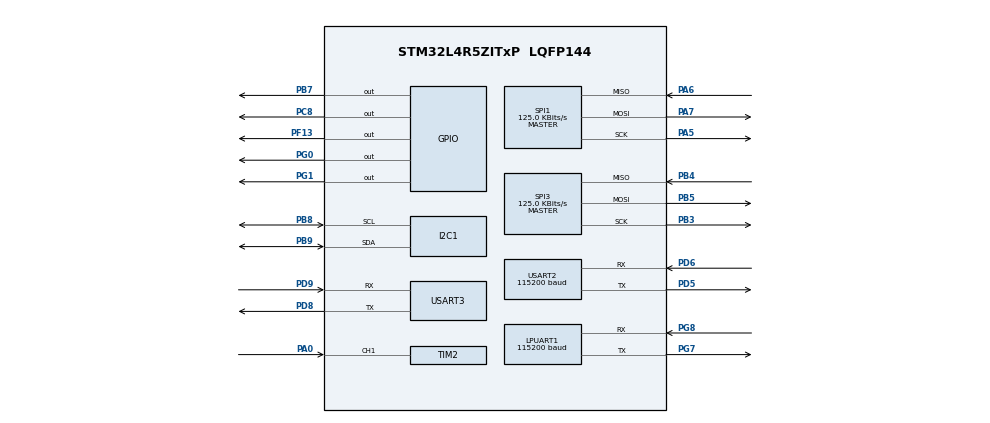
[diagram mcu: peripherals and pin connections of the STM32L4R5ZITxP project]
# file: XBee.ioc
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LPUART1.BaudRate=115200
LPUART1.Mode=UART_MODE_TX_RX
LPUART1.WordLength=UART_WORDLENGTH_8B
Mcu.Family=STM32L4
Mcu.Name=STM32L4R5ZITxP
Mcu.Package=LQFP144
NVIC.PriorityGroup=NVIC_PRIORITYGROUP_4
NVIC.USART2_IRQn=true\:0\:0\:false\:false\:true\:true\:true\:true
NVIC.USART3_IRQn=true\:0\:0\:false\:false\:true\:true\:true\:true
PA0.Signal=S_TIM2_CH1
PA1.Signal=ADCx_IN6
PA10.Signal=USB_OTG_FS_ID
PA13\ (JTMS/SWDIO).Signal=SYS_JTMS-SWDIO
PA14\ (JTCK/SWCLK).Signal=SYS_JTCK-SWCLK
PA3.Signal=ADCx_IN8
PA4.Signal=SPI1_NSS
PA5.Mode=Full_Duplex_Master
PA5.Signal=SPI1_SCK
PA6.Mode=Full_Duplex_Master
PA6.Signal=SPI1_MISO
PA7.Mode=Full_Duplex_Master
PA7.Signal=SPI1_MOSI
PA8.Signal=USB_OTG_FS_SOF
PA9.Signal=USB_OTG_FS_VBUS
PB0.Signal=S_TIM3_CH3
PB1.Signal=ADCx_IN16
PB10.Signal=S_TIM2_CH3
PB12.Signal=SAI2_FS_A
PB13.Signal=SAI2_SCK_A
PB14.Signal=S_TIM15_CH1
PB15.Signal=SAI2_SD_A
PB2.Signal=COMP1_INP
PB3\ (JTDO/TRACESWO).Mode=Full_Duplex_Master
PB3\ (JTDO/TRACESWO).Signal=SPI3_SCK
PB4\ (NJTRST).Mode=Full_Duplex_Master
PB4\ (NJTRST).Signal=SPI3_MISO
PB5.Mode=Full_Duplex_Master
PB5.Signal=SPI3_MOSI
PB6.Signal=COMP2_INP
PB7.Signal=GPIO_Output
PB8.Mode=I2C
PB8.Signal=I2C1_SCL
PB9.Mode=I2C
PB9.Signal=I2C1_SDA
PC0.Signal=ADCx_IN1
PC1.Signal=ADCx_IN2
PC10.Signal=SDMMC1_D2
PC11.Signal=SDMMC1_D3
PC12.Signal=SDMMC1_CK
PC13.Signal=SYS_WKUP2
PC14-OSC32_IN\ (PC14).Signal=RCC_OSC32_IN
PC15-OSC32_OUT\ (PC15).Signal=RCC_OSC32_OUT
PC2.Signal=ADCx_IN3
PC3.Signal=ADCx_IN4
PC4.Signal=ADCx_IN13
PC5.Signal=ADCx_IN14
PC6.Signal=SAI2_MCLK_A
PC7.Signal=S_TIM3_CH2
PC8.Signal=GPIO_Output
PC9.Signal=SDMMC1_D1
PD0.Signal=CAN1_RX
PD14.Signal=S_TIM4_CH3
PD15.Signal=S_TIM4_CH4
PD2.Signal=SDMMC1_CMD
PD3.Signal=USART2_CTS
PD4.Signal=USART2_RTS
PD5.Mode=Asynchronous
PD5.Signal=USART2_TX
PD6.Mode=Asynchronous
PD6.Signal=USART2_RX
PD8.Mode=Asynchronous
PD8.Signal=USART3_TX
PD9.Mode=Asynchronous
PD9.Signal=USART3_RX
PE0.Signal=S_TIM4_ETR
PE10.Signal=TIM1_CH2N
PE11.Signal=S_TIM1_CH2
PE12.Signal=TIM1_CH3N
PE13.Signal=S_TIM1_CH3
PE14.Signal=TIM1_BKIN2
PE15.Signal=TIM1_BKIN
PE2.Signal=SAI1_MCLK_A
PE3.Signal=SAI1_SD_B
PE7.Signal=S_TIM1_ETR
PE8.Signal=TIM1_CH1N
PE9.Signal=S_TIM1_CH1
PF0.Signal=I2C2_SDA
PF1.Signal=I2C2_SCL
PF13.Signal=GPIO_Output
PF2.Signal=I2C2_SMBA
PF7.Signal=SAI1_MCLK_B
PG0.Signal=GPIO_Output
PG1.Signal=GPIO_Output
PG7.Mode=Asynchronous
PG7.Signal=LPUART1_TX
PG8.Mode=Asynchronous
PG8.Signal=LPUART1_RX
PH0-OSC_IN\ (PH0).Signal=RCC_OSC_IN
PH1-OSC_OUT\ (PH1).Signal=RCC_OSC_OUT
ProjectManager.HeapSize=0x200
ProjectManager.StackSize=0x400
ProjectManager.TargetToolchain=STM32CubeIDE
RCC.HSE_VALUE=8000000
RCC.HSI48_VALUE=48000000
RCC.HSI_VALUE=16000000
RCC.LSE_VALUE=32768
RCC.MSI_VALUE=4000000
RCC.VCOOutputFreq_Value=32000000
SH.ADCx_IN1.0=ADC1_IN1
SH.ADCx_IN13.0=ADC1_IN13
SH.ADCx_IN14.0=ADC1_IN14
SH.ADCx_IN16.0=ADC1_IN16
SH.ADCx_IN2.0=ADC1_IN2
SH.ADCx_IN3.0=ADC1_IN3
SH.ADCx_IN4.0=ADC1_IN4
SH.ADCx_IN6.0=ADC1_IN6
SH.ADCx_IN8.0=ADC1_IN8
SH.S_TIM15_CH1.0=TIM15_CH1
SH.S_TIM1_CH1.0=TIM1_CH1
SH.S_TIM1_CH2.0=TIM1_CH2
SH.S_TIM1_CH3.0=TIM1_CH3
SH.S_TIM1_ETR.0=TIM1_ETR
SH.S_TIM2_CH1.0=TIM2_CH1,Input_Capture1_from_TI1
SH.S_TIM2_CH3.0=TIM2_CH3
SH.S_TIM3_CH2.0=TIM3_CH2
SH.S_TIM3_CH3.0=TIM3_CH3
SH.S_TIM4_CH3.0=TIM4_CH3
SH.S_TIM4_CH4.0=TIM4_CH4
SH.S_TIM4_ETR.0=TIM4_ETR
SPI1.BaudRatePrescaler=SPI_BAUDRATEPRESCALER_32
SPI1.CLKPhase=SPI_PHASE_2EDGE
SPI1.CLKPolarity=SPI_POLARITY_HIGH
SPI1.CalculateBaudRate=125.0 KBits/s
SPI1.DataSize=SPI_DATASIZE_8BIT
SPI1.Direction=SPI_DIRECTION_2LINES
SPI1.FirstBit=SPI_FIRSTBIT_LSB
SPI1.Mode=SPI_MODE_MASTER
SPI1.VirtualType=VM_MASTER
SPI3.BaudRatePrescaler=SPI_BAUDRATEPRESCALER_32
SPI3.CLKPhase=SPI_PHASE_2EDGE
SPI3.CLKPolarity=SPI_POLARITY_HIGH
SPI3.CalculateBaudRate=125.0 KBits/s
SPI3.DataSize=SPI_DATASIZE_8BIT
SPI3.Direction=SPI_DIRECTION_2LINES
SPI3.FirstBit=SPI_FIRSTBIT_LSB
SPI3.Mode=SPI_MODE_MASTER
SPI3.VirtualType=VM_MASTER
TIM2.Channel-Input_Capture1_from_TI1=TIM_CHANNEL_1
TIM2.Prescaler=3999
USART2.BaudRate=115200
USART2.VirtualMode-Asynchronous=VM_ASYNC
USART3.VirtualMode-Asynchronous=VM_ASYNC
VP_TIM2_VS_ClockSourceINT.Mode=Internal
board=NUCLEO-L4R5ZI-P

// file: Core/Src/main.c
/* USER CODE BEGIN Header */
/**
  ******************************************************************************
  * @file           : main.c
  * @brief          : Main program body
  ******************************************************************************
  * @attention
  *
  * Copyright (c) 2024 STMicroelectronics.
  * All rights reserved.
  *
  * This software is licensed under terms that can be found in the LICENSE file
  * in the root directory of this software component.
  * If no LICENSE file comes with this software, it is provided AS-IS.
  *
  ******************************************************************************
  */
/* USER CODE END Header */
#include "main.h"

/* USER CODE BEGIN Includes */
#include "stdio.h"
/* USER CODE END Includes */

I2C_HandleTypeDef hi2c1;

UART_HandleTypeDef hlpuart1;
UART_HandleTypeDef huart2;
UART_HandleTypeDef huart3;

SPI_HandleTypeDef hspi1;
SPI_HandleTypeDef hspi3;

TIM_HandleTypeDef htim2;

/* USER CODE BEGIN PV */
uint8_t rx_data1[2];	// Receive data upon interrupt from Xbee 1
uint8_t rx_data2[2]; 	// Receive data upon interrupt from Xbee 2
uint32_t car_time1;
uint32_t car_time2;
int car_finished1 = 0; // bool: has car finished race?
int car_finished2 = 0; // bool: has car finished race?
int race_started = 0;

/* USER CODE END PV */

void SystemClock_Config(void);
static void MX_GPIO_Init(void);
static void MX_USART2_UART_Init(void);
static void MX_LPUART1_UART_Init(void);
static void MX_SPI1_Init(void);
static void MX_SPI3_Init(void);
static void MX_USART3_UART_Init(void);
static void MX_TIM2_Init(void);
static void MX_I2C1_Init(void);

/* USER CODE BEGIN 0 */

void lcd_command(uint8_t lcd_addr, uint8_t cmd) {
	uint8_t lcd_write_addr = lcd_addr << 1;

	uint8_t cmd_buffer[5];
	uint8_t upper_nibble = cmd & 0xf0; // keep upper 4 bits of cmd and set lower 4 bits to 0
	uint8_t lower_nibble = cmd << 4; // shift lower 4 bits of cmd into upper 4 bits and set lower 4 bits to 0

	cmd_buffer[0] = upper_nibble | (0b1100);
	cmd_buffer[1] = upper_nibble | (0b1000);
	cmd_buffer[2] = lower_nibble | (0b1100);
	cmd_buffer[3] = lower_nibble | (0b1000);

	HAL_I2C_Master_Transmit(&hi2c1, lcd_write_addr, cmd_buffer, 4, 10);
	HAL_Delay(5);
}

void lcd_data(uint8_t lcd_addr, uint8_t cmd) {
	uint8_t lcd_write_addr = lcd_addr << 1;

	uint8_t data_buffer[5];
	uint8_t upper_nibble = cmd & 0xf0; // keep upper 4 bits of cmd and set lower 4 bits to 0
	uint8_t lower_nibble = cmd << 4; // shift lower 4 bits of cmd into upper 4 bits and set lower 4 bits to 0

	data_buffer[0] = upper_nibble | (0b1101);
	data_buffer[1] = upper_nibble | (0b1001);
	data_buffer[2] = lower_nibble | (0b1101);
	data_buffer[3] = lower_nibble | (0b1001);

	HAL_I2C_Master_Transmit(&hi2c1, lcd_write_addr, data_buffer, 4, 10);
	HAL_Delay(5);
}

void lcd_clear() {
	lcd_command(0x27, 0x01); // 0x01 -> Clear display (and clear DDRAM)
}

// Writes a C-string to the lcd at the given row and col
void lcd_string(uint8_t lcd_addr, uint8_t row, uint8_t col, const char* message) {

	uint8_t start_pos = 0x80 + (row * 0x40) + col;

	lcd_command(lcd_addr, start_pos); // bring cursor to start

	while(*message != '\0') {
		lcd_data(lcd_addr, message[0]);
		message ++ ;
	}
}

void lcd_init(uint8_t lcd_addr) {
	uint8_t lcd_write_addr = lcd_addr << 1;

	// 1. Set to 4 bit operation (only this instruction executes as 8 bit)
	HAL_Delay(100); // must wait at least 40 ms after booting
	lcd_command(lcd_addr, 0x30);
	HAL_Delay(10);
	lcd_command(lcd_addr, 0x28); // 0x28 -> function set 4 bits, 2 lines // 0010,1000
	HAL_Delay(10);
	lcd_command(lcd_addr, 0x08); // 0x08 -> Clear display (without clearing DDRAM)
	HAL_Delay(10);
	lcd_command(lcd_addr, 0x01); // 0x01 -> Clear display (and clear DDRAM)
	HAL_Delay(10);
	lcd_command(lcd_addr, 0x06); // 0x06 -> entry mode
	HAL_Delay(10);
	lcd_command(lcd_addr, 0x0C); // 0x0C -> display on cursor off
	HAL_Delay(10);

	lcd_command(0x27, 0x80);
	HAL_Delay(10);
}

void start_race() {
	printf("Starting race\n");
	lcd_clear();
	lcd_string(0x27, 0, 0, "Starting Race!");
	car_finished1 = 0; car_finished2 = 0;
	car_time1 = 0; car_time2 = 0;

	HAL_Delay(1000);
	lcd_clear();
	lcd_string(0x27, 0, 0, "3");
	HAL_Delay(1000);

	lcd_clear();
	lcd_string(0x27, 0, 0, "2");
	HAL_Delay(1000);

	lcd_clear();
	lcd_string(0x27, 0, 0, "1");
	HAL_Delay(1000);

	lcd_clear();
	lcd_string(0x27, 0, 0, "Go!");
	HAL_Delay(1000);

	HAL_UART_Receive_IT(&huart2, rx_data1, 1);
	HAL_UART_Receive_IT(&huart3, rx_data2, 1);

	htim2.Instance->CNT = 0;
	race_started = 1;
}
/* USER CODE END 0 */

int main(void)
{
  /* USER CODE BEGIN 1 */
  HAL_GPIO_WritePin(GPIOG, GPIO_PIN_0, 0);
  HAL_GPIO_WritePin(GPIOG, GPIO_PIN_1, 0);

  /* USER CODE END 1 */

  /* MCU Configuration--------------------------------------------------------*/

  /* Reset of all peripherals, Initializes the Flash interface and the Systick. */
  HAL_Init();

  /* Configure the system clock */
  SystemClock_Config();

  /* Initialize all configured peripherals */
  MX_GPIO_Init();
  MX_USART2_UART_Init();
  MX_LPUART1_UART_Init();
  MX_SPI1_Init();
  MX_SPI3_Init();
  MX_USART3_UART_Init();
  MX_TIM2_Init();
  MX_I2C1_Init();
  /* USER CODE BEGIN 2 */
  HAL_TIM_Base_Start(&htim2);

  // Use interrupts to receive data
//  HAL_UART_Receive_IT(&huart2, rx_data1, 1);
//  HAL_UART_Receive_IT(&huart3, rx_data2, 1);

  /* USER CODE END 2 */

  /* Infinite loop */
  /* USER CODE BEGIN WHILE */

  HAL_Delay(100);
  lcd_init(0x27);
  HAL_Delay(100);

  uint8_t not_analog[6] = {0, 0, 128, 128, 128, 128};
  uint8_t spi_trs[21] = {0x01, 0x42};
  uint8_t spi_rec1[21];
  uint8_t spi_rec2[21];

  lcd_string(0x27, 0, 0, "LCD Init");

  //
//  lcd_clear();
//  lcd_string(0x27, 0, 0, "Car 1 Wins");
//  		   lcd_string(0x27, 1, 0, "time: ");
//  		   char num_buffer[10];
//  		   itoa(73, num_buffer, 10);
//  		   lcd_string(0x27, 1, 6, num_buffer);
//  		   lcd_string(0x27, 1, 13, "sec");
  //

  race_started = 0;

  while (1)
  {
	 # define DEBUG_MODE 1;

	// Read Controller 1 (SPI 1)
	HAL_GPIO_WritePin(GPIOC, GPIO_PIN_8, GPIO_PIN_RESET);
	HAL_SPI_TransmitReceive(&hspi1, spi_trs, spi_rec1, 9, HAL_MAX_DELAY);
	HAL_GPIO_WritePin(GPIOC, GPIO_PIN_8, GPIO_PIN_SET);
	HAL_Delay(1);

	// Read Controller 2 (SPI 3)
	HAL_GPIO_WritePin(GPIOF, GPIO_PIN_13, GPIO_PIN_RESET); // ATT
	HAL_SPI_TransmitReceive(&hspi3, spi_trs, spi_rec2, 9, HAL_MAX_DELAY);
	HAL_GPIO_WritePin(GPIOF, GPIO_PIN_13, GPIO_PIN_SET); // ATT
	HAL_Delay(1);

	// Only transmit if in Analog mode
	// Header may be unique to controller

	#ifdef DEBUG_MODE
//		printf("Controller 1: ");
//		for (int i = 0; i < 9; ++i) {
//			printf("%2x ", spi_rec1[i]);
//		}
//		printf("\n");
//		printf("Controller 2: ");
//		for (int i = 0; i < 9; ++i) {
//			printf("%2x ", spi_rec2[i]);
//		}
//		printf("\n");
	#endif

	// Transmit to Car 1
	if(spi_rec1[1] == 0x73 && !car_finished1) {
		HAL_UART_Transmit(&huart2, spi_rec1 + 3, 6, HAL_MAX_DELAY);
	} else {
		HAL_UART_Transmit(&huart2, not_analog, 6, HAL_MAX_DELAY);
	} HAL_Delay(5);

	// Transmit to Car 2
	if(spi_rec2[1] == 0x73 && !car_finished2) {
		printf("Controller 2: ");
			for (int i = 0; i < 9; ++i) {
				printf("%2x ", spi_rec2[i]);
			}
			printf("\n");
		HAL_UART_Transmit(&huart3, spi_rec2 + 3, 6, HAL_MAX_DELAY);
	} else {

		printf("Controller 2: ");
		printf("69 69 69 ");
		for (int i = 0; i < 6; ++i) {
			printf("%2x ", not_analog[i]);
		}
		printf("\n");

		HAL_UART_Transmit(&huart3, not_analog, 6, HAL_MAX_DELAY);
	} HAL_Delay(5);

	// Start condition for race
	// start button pressed on both controllers and both controllers are in analog mode
	//
//	uint8_t analog1 = (spi_rec1[1] == 0x73);
//	uint8_t analog2 = (spi_rec2[1] == 0x73);
	uint8_t start1 = !((spi_rec1[3] & (1 << 5)) >> 5);
	uint8_t start2 = !((spi_rec2[3] & (1 << 5)) >> 5);
	printf("start1, 2: %d %d \n", start1, start2);
	if (start1 && start2 && !race_started) {
		start_race();
	}

    /* USER CODE END WHILE */

  }
}

void SystemClock_Config(void)
{
  RCC_OscInitTypeDef RCC_OscInitStruct = {0};
  RCC_ClkInitTypeDef RCC_ClkInitStruct = {0};

  /** Configure the main internal regulator output voltage
  */
  if (HAL_PWREx_ControlVoltageScaling(PWR_REGULATOR_VOLTAGE_SCALE1) != HAL_OK)
  {
    Error_Handler();
  }

  /** Initializes the RCC Oscillators according to the specified parameters
  * in the RCC_OscInitTypeDef structure.
  */
  RCC_OscInitStruct.OscillatorType = RCC_OSCILLATORTYPE_MSI;
  RCC_OscInitStruct.MSIState = RCC_MSI_ON;
  RCC_OscInitStruct.MSICalibrationValue = 0;
  RCC_OscInitStruct.MSIClockRange = RCC_MSIRANGE_6;
  RCC_OscInitStruct.PLL.PLLState = RCC_PLL_NONE;
  if (HAL_RCC_OscConfig(&RCC_OscInitStruct) != HAL_OK)
  {
    Error_Handler();
  }

  /** Initializes the CPU, AHB and APB buses clocks
  */
  RCC_ClkInitStruct.ClockType = RCC_CLOCKTYPE_HCLK|RCC_CLOCKTYPE_SYSCLK
                              |RCC_CLOCKTYPE_PCLK1|RCC_CLOCKTYPE_PCLK2;
  RCC_ClkInitStruct.SYSCLKSource = RCC_SYSCLKSOURCE_MSI;
  RCC_ClkInitStruct.AHBCLKDivider = RCC_SYSCLK_DIV1;
  RCC_ClkInitStruct.APB1CLKDivider = RCC_HCLK_DIV1;
  RCC_ClkInitStruct.APB2CLKDivider = RCC_HCLK_DIV1;

  if (HAL_RCC_ClockConfig(&RCC_ClkInitStruct, FLASH_LATENCY_0) != HAL_OK)
  {
    Error_Handler();
  }
}

static void MX_I2C1_Init(void)
{

  hi2c1.Instance = I2C1;
  hi2c1.Init.Timing = 0x00000E14;
  hi2c1.Init.OwnAddress1 = 0;
  hi2c1.Init.AddressingMode = I2C_ADDRESSINGMODE_7BIT;
  hi2c1.Init.DualAddressMode = I2C_DUALADDRESS_DISABLE;
  hi2c1.Init.OwnAddress2 = 0;
  hi2c1.Init.OwnAddress2Masks = I2C_OA2_NOMASK;
  hi2c1.Init.GeneralCallMode = I2C_GENERALCALL_DISABLE;
  hi2c1.Init.NoStretchMode = I2C_NOSTRETCH_DISABLE;
  if (HAL_I2C_Init(&hi2c1) != HAL_OK)
  {
    Error_Handler();
  }

  /** Configure Analogue filter
  */
  if (HAL_I2CEx_ConfigAnalogFilter(&hi2c1, I2C_ANALOGFILTER_ENABLE) != HAL_OK)
  {
    Error_Handler();
  }

  /** Configure Digital filter
  */
  if (HAL_I2CEx_ConfigDigitalFilter(&hi2c1, 0) != HAL_OK)
  {
    Error_Handler();
  }

}

static void MX_LPUART1_UART_Init(void)
{

  hlpuart1.Instance = LPUART1;
  hlpuart1.Init.BaudRate = 115200;
  hlpuart1.Init.WordLength = UART_WORDLENGTH_8B;
  hlpuart1.Init.StopBits = UART_STOPBITS_1;
  hlpuart1.Init.Parity = UART_PARITY_NONE;
  hlpuart1.Init.Mode = UART_MODE_TX_RX;
  hlpuart1.Init.HwFlowCtl = UART_HWCONTROL_NONE;
  hlpuart1.Init.OneBitSampling = UART_ONE_BIT_SAMPLE_DISABLE;
  hlpuart1.Init.ClockPrescaler = UART_PRESCALER_DIV1;
  hlpuart1.AdvancedInit.AdvFeatureInit = UART_ADVFEATURE_NO_INIT;
  hlpuart1.FifoMode = UART_FIFOMODE_DISABLE;
  if (HAL_UART_Init(&hlpuart1) != HAL_OK)
  {
    Error_Handler();
  }
  if (HAL_UARTEx_SetTxFifoThreshold(&hlpuart1, UART_TXFIFO_THRESHOLD_1_8) != HAL_OK)
  {
    Error_Handler();
  }
  if (HAL_UARTEx_SetRxFifoThreshold(&hlpuart1, UART_RXFIFO_THRESHOLD_1_8) != HAL_OK)
  {
    Error_Handler();
  }
  if (HAL_UARTEx_DisableFifoMode(&hlpuart1) != HAL_OK)
  {
    Error_Handler();
  }

}

static void MX_USART2_UART_Init(void)
{

  huart2.Instance = USART2;
  huart2.Init.BaudRate = 115200;
  huart2.Init.WordLength = UART_WORDLENGTH_8B;
  huart2.Init.StopBits = UART_STOPBITS_1;
  huart2.Init.Parity = UART_PARITY_NONE;
  huart2.Init.Mode = UART_MODE_TX_RX;
  huart2.Init.HwFlowCtl = UART_HWCONTROL_NONE;
  huart2.Init.OverSampling = UART_OVERSAMPLING_16;
  huart2.Init.OneBitSampling = UART_ONE_BIT_SAMPLE_DISABLE;
  huart2.Init.ClockPrescaler = UART_PRESCALER_DIV1;
  huart2.AdvancedInit.AdvFeatureInit = UART_ADVFEATURE_NO_INIT;
  if (HAL_UART_Init(&huart2) != HAL_OK)
  {
    Error_Handler();
  }
  if (HAL_UARTEx_SetTxFifoThreshold(&huart2, UART_TXFIFO_THRESHOLD_1_8) != HAL_OK)
  {
    Error_Handler();
  }
  if (HAL_UARTEx_SetRxFifoThreshold(&huart2, UART_RXFIFO_THRESHOLD_1_8) != HAL_OK)
  {
    Error_Handler();
  }
  if (HAL_UARTEx_DisableFifoMode(&huart2) != HAL_OK)
  {
    Error_Handler();
  }

}

static void MX_USART3_UART_Init(void)
{

  huart3.Instance = USART3;
  huart3.Init.BaudRate = 115200;
  huart3.Init.WordLength = UART_WORDLENGTH_8B;
  huart3.Init.StopBits = UART_STOPBITS_1;
  huart3.Init.Parity = UART_PARITY_NONE;
  huart3.Init.Mode = UART_MODE_TX_RX;
  huart3.Init.HwFlowCtl = UART_HWCONTROL_NONE;
  huart3.Init.OverSampling = UART_OVERSAMPLING_16;
  huart3.Init.OneBitSampling = UART_ONE_BIT_SAMPLE_DISABLE;
  huart3.Init.ClockPrescaler = UART_PRESCALER_DIV1;
  huart3.AdvancedInit.AdvFeatureInit = UART_ADVFEATURE_NO_INIT;
  if (HAL_UART_Init(&huart3) != HAL_OK)
  {
    Error_Handler();
  }
  if (HAL_UARTEx_SetTxFifoThreshold(&huart3, UART_TXFIFO_THRESHOLD_1_8) != HAL_OK)
  {
    Error_Handler();
  }
  if (HAL_UARTEx_SetRxFifoThreshold(&huart3, UART_RXFIFO_THRESHOLD_1_8) != HAL_OK)
  {
    Error_Handler();
  }
  if (HAL_UARTEx_DisableFifoMode(&huart3) != HAL_OK)
  {
    Error_Handler();
  }

}

static void MX_SPI1_Init(void)
{

  /* SPI1 parameter configuration*/
  hspi1.Instance = SPI1;
  hspi1.Init.Mode = SPI_MODE_MASTER;
  hspi1.Init.Direction = SPI_DIRECTION_2LINES;
  hspi1.Init.DataSize = SPI_DATASIZE_8BIT;
  hspi1.Init.CLKPolarity = SPI_POLARITY_HIGH;
  hspi1.Init.CLKPhase = SPI_PHASE_2EDGE;
  hspi1.Init.NSS = SPI_NSS_SOFT;
  hspi1.Init.BaudRatePrescaler = SPI_BAUDRATEPRESCALER_32;
  hspi1.Init.FirstBit = SPI_FIRSTBIT_LSB;
  hspi1.Init.TIMode = SPI_TIMODE_DISABLE;
  hspi1.Init.CRCCalculation = SPI_CRCCALCULATION_DISABLE;
  hspi1.Init.CRCPolynomial = 7;
  hspi1.Init.CRCLength = SPI_CRC_LENGTH_DATASIZE;
  hspi1.Init.NSSPMode = SPI_NSS_PULSE_DISABLE;
  if (HAL_SPI_Init(&hspi1) != HAL_OK)
  {
    Error_Handler();
  }

}

static void MX_SPI3_Init(void)
{

  /* SPI3 parameter configuration*/
  hspi3.Instance = SPI3;
  hspi3.Init.Mode = SPI_MODE_MASTER;
  hspi3.Init.Direction = SPI_DIRECTION_2LINES;
  hspi3.Init.DataSize = SPI_DATASIZE_8BIT;
  hspi3.Init.CLKPolarity = SPI_POLARITY_HIGH;
  hspi3.Init.CLKPhase = SPI_PHASE_2EDGE;
  hspi3.Init.NSS = SPI_NSS_SOFT;
  hspi3.Init.BaudRatePrescaler = SPI_BAUDRATEPRESCALER_32;
  hspi3.Init.FirstBit = SPI_FIRSTBIT_LSB;
  hspi3.Init.TIMode = SPI_TIMODE_DISABLE;
  hspi3.Init.CRCCalculation = SPI_CRCCALCULATION_DISABLE;
  hspi3.Init.CRCPolynomial = 7;
  hspi3.Init.CRCLength = SPI_CRC_LENGTH_DATASIZE;
  hspi3.Init.NSSPMode = SPI_NSS_PULSE_DISABLE;
  if (HAL_SPI_Init(&hspi3) != HAL_OK)
  {
    Error_Handler();
  }

}

static void MX_TIM2_Init(void)
{

  TIM_ClockConfigTypeDef sClockSourceConfig = {0};
  TIM_MasterConfigTypeDef sMasterConfig = {0};
  TIM_IC_InitTypeDef sConfigIC = {0};

  htim2.Instance = TIM2;
  htim2.Init.Prescaler = 3999;
  htim2.Init.CounterMode = TIM_COUNTERMODE_UP;
  htim2.Init.Period = 4294967295;
  htim2.Init.ClockDivision = TIM_CLOCKDIVISION_DIV1;
  htim2.Init.AutoReloadPreload = TIM_AUTORELOAD_PRELOAD_DISABLE;
  if (HAL_TIM_Base_Init(&htim2) != HAL_OK)
  {
    Error_Handler();
  }
  sClockSourceConfig.ClockSource = TIM_CLOCKSOURCE_INTERNAL;
  if (HAL_TIM_ConfigClockSource(&htim2, &sClockSourceConfig) != HAL_OK)
  {
    Error_Handler();
  }
  if (HAL_TIM_IC_Init(&htim2) != HAL_OK)
  {
    Error_Handler();
  }
  sMasterConfig.MasterOutputTrigger = TIM_TRGO_RESET;
  sMasterConfig.MasterSlaveMode = TIM_MASTERSLAVEMODE_DISABLE;
  if (HAL_TIMEx_MasterConfigSynchronization(&htim2, &sMasterConfig) != HAL_OK)
  {
    Error_Handler();
  }
  sConfigIC.ICPolarity = TIM_INPUTCHANNELPOLARITY_RISING;
  sConfigIC.ICSelection = TIM_ICSELECTION_DIRECTTI;
  sConfigIC.ICPrescaler = TIM_ICPSC_DIV1;
  sConfigIC.ICFilter = 0;
  if (HAL_TIM_IC_ConfigChannel(&htim2, &sConfigIC, TIM_CHANNEL_1) != HAL_OK)
  {
    Error_Handler();
  }

}

static void MX_GPIO_Init(void)
{
  GPIO_InitTypeDef GPIO_InitStruct = {0};

  /* GPIO Ports Clock Enable */
  __HAL_RCC_GPIOE_CLK_ENABLE();
  __HAL_RCC_GPIOC_CLK_ENABLE();
  __HAL_RCC_GPIOF_CLK_ENABLE();
  __HAL_RCC_GPIOH_CLK_ENABLE();
  __HAL_RCC_GPIOA_CLK_ENABLE();
  __HAL_RCC_GPIOB_CLK_ENABLE();
  __HAL_RCC_GPIOG_CLK_ENABLE();
  __HAL_RCC_GPIOD_CLK_ENABLE();
  HAL_PWREx_EnableVddIO2();

  /*Configure GPIO pin Output Level */
  HAL_GPIO_WritePin(GPIOF, GPIO_PIN_13, GPIO_PIN_RESET);

  /*Configure GPIO pin Output Level */
  HAL_GPIO_WritePin(GPIOG, GPIO_PIN_0|GPIO_PIN_1, GPIO_PIN_RESET);

  /*Configure GPIO pin Output Level */
  HAL_GPIO_WritePin(GPIOC, GPIO_PIN_8, GPIO_PIN_RESET);

  /*Configure GPIO pin Output Level */
  HAL_GPIO_WritePin(GPIOB, GPIO_PIN_7, GPIO_PIN_RESET);

  /*Configure GPIO pins : PE2 PE3 */
  GPIO_InitStruct.Pin = GPIO_PIN_2|GPIO_PIN_3;
  GPIO_InitStruct.Mode = GPIO_MODE_AF_PP;
  GPIO_InitStruct.Pull = GPIO_NOPULL;
  GPIO_InitStruct.Speed = GPIO_SPEED_FREQ_LOW;
  GPIO_InitStruct.Alternate = GPIO_AF13_SAI1;
  HAL_GPIO_Init(GPIOE, &GPIO_InitStruct);

  /*Configure GPIO pins : PF0 PF1 PF2 */
  GPIO_InitStruct.Pin = GPIO_PIN_0|GPIO_PIN_1|GPIO_PIN_2;
  GPIO_InitStruct.Mode = GPIO_MODE_AF_OD;
  GPIO_InitStruct.Pull = GPIO_NOPULL;
  GPIO_InitStruct.Speed = GPIO_SPEED_FREQ_VERY_HIGH;
  GPIO_InitStruct.Alternate = GPIO_AF4_I2C2;
  HAL_GPIO_Init(GPIOF, &GPIO_InitStruct);

  /*Configure GPIO pin : PF7 */
  GPIO_InitStruct.Pin = GPIO_PIN_7;
  GPIO_InitStruct.Mode = GPIO_MODE_AF_PP;
  GPIO_InitStruct.Pull = GPIO_NOPULL;
  GPIO_InitStruct.Speed = GPIO_SPEED_FREQ_LOW;
  GPIO_InitStruct.Alternate = GPIO_AF13_SAI1;
  HAL_GPIO_Init(GPIOF, &GPIO_InitStruct);

  /*Configure GPIO pins : PC0 PC1 PC2 PC3
                           PC4 PC5 */
  GPIO_InitStruct.Pin = GPIO_PIN_0|GPIO_PIN_1|GPIO_PIN_2|GPIO_PIN_3
                          |GPIO_PIN_4|GPIO_PIN_5;
  GPIO_InitStruct.Mode = GPIO_MODE_ANALOG_ADC_CONTROL;
  GPIO_InitStruct.Pull = GPIO_NOPULL;
  HAL_GPIO_Init(GPIOC, &GPIO_InitStruct);

  /*Configure GPIO pins : PA1 PA3 */
  GPIO_InitStruct.Pin = GPIO_PIN_1|GPIO_PIN_3;
  GPIO_InitStruct.Mode = GPIO_MODE_ANALOG_ADC_CONTROL;
  GPIO_InitStruct.Pull = GPIO_NOPULL;
  HAL_GPIO_Init(GPIOA, &GPIO_InitStruct);

  /*Configure GPIO pin : PB0 */
  GPIO_InitStruct.Pin = GPIO_PIN_0;
  GPIO_InitStruct.Mode = GPIO_MODE_AF_PP;
  GPIO_InitStruct.Pull = GPIO_NOPULL;
  GPIO_InitStruct.Speed = GPIO_SPEED_FREQ_LOW;
  GPIO_InitStruct.Alternate = GPIO_AF2_TIM3;
  HAL_GPIO_Init(GPIOB, &GPIO_InitStruct);

  /*Configure GPIO pin : PB1 */
  GPIO_InitStruct.Pin = GPIO_PIN_1;
  GPIO_InitStruct.Mode = GPIO_MODE_ANALOG_ADC_CONTROL;
  GPIO_InitStruct.Pull = GPIO_NOPULL;
  HAL_GPIO_Init(GPIOB, &GPIO_InitStruct);

  /*Configure GPIO pins : PB2 PB6 */
  GPIO_InitStruct.Pin = GPIO_PIN_2|GPIO_PIN_6;
  GPIO_InitStruct.Mode = GPIO_MODE_ANALOG;
  GPIO_InitStruct.Pull = GPIO_NOPULL;
  HAL_GPIO_Init(GPIOB, &GPIO_InitStruct);

  /*Configure GPIO pin : PF13 */
  GPIO_InitStruct.Pin = GPIO_PIN_13;
  GPIO_InitStruct.Mode = GPIO_MODE_OUTPUT_PP;
  GPIO_InitStruct.Pull = GPIO_NOPULL;
  GPIO_InitStruct.Speed = GPIO_SPEED_FREQ_LOW;
  HAL_GPIO_Init(GPIOF, &GPIO_InitStruct);

  /*Configure GPIO pins : PG0 PG1 */
  GPIO_InitStruct.Pin = GPIO_PIN_0|GPIO_PIN_1;
  GPIO_InitStruct.Mode = GPIO_MODE_OUTPUT_PP;
  GPIO_InitStruct.Pull = GPIO_NOPULL;
  GPIO_InitStruct.Speed = GPIO_SPEED_FREQ_LOW;
  HAL_GPIO_Init(GPIOG, &GPIO_InitStruct);

  /*Configure GPIO pins : PE7 PE8 PE9 PE10
                           PE11 PE12 PE13 */
  GPIO_InitStruct.Pin = GPIO_PIN_7|GPIO_PIN_8|GPIO_PIN_9|GPIO_PIN_10
                          |GPIO_PIN_11|GPIO_PIN_12|GPIO_PIN_13;
  GPIO_InitStruct.Mode = GPIO_MODE_AF_PP;
  GPIO_InitStruct.Pull = GPIO_NOPULL;
  GPIO_InitStruct.Speed = GPIO_SPEED_FREQ_LOW;
  GPIO_InitStruct.Alternate = GPIO_AF1_TIM1;
  HAL_GPIO_Init(GPIOE, &GPIO_InitStruct);

  /*Configure GPIO pins : PE14 PE15 */
  GPIO_InitStruct.Pin = GPIO_PIN_14|GPIO_PIN_15;
  GPIO_InitStruct.Mode = GPIO_MODE_AF_PP;
  GPIO_InitStruct.Pull = GPIO_NOPULL;
  GPIO_InitStruct.Speed = GPIO_SPEED_FREQ_LOW;
  GPIO_InitStruct.Alternate = GPIO_AF3_TIM1_COMP1;
  HAL_GPIO_Init(GPIOE, &GPIO_InitStruct);

  /*Configure GPIO pins : PB12 PB13 PB15 */
  GPIO_InitStruct.Pin = GPIO_PIN_12|GPIO_PIN_13|GPIO_PIN_15;
  GPIO_InitStruct.Mode = GPIO_MODE_AF_PP;
  GPIO_InitStruct.Pull = GPIO_NOPULL;
  GPIO_InitStruct.Speed = GPIO_SPEED_FREQ_LOW;
  GPIO_InitStruct.Alternate = GPIO_AF13_SAI2;
  HAL_GPIO_Init(GPIOB, &GPIO_InitStruct);

  /*Configure GPIO pin : PB14 */
  GPIO_InitStruct.Pin = GPIO_PIN_14;
  GPIO_InitStruct.Mode = GPIO_MODE_AF_PP;
  GPIO_InitStruct.Pull = GPIO_NOPULL;
  GPIO_InitStruct.Speed = GPIO_SPEED_FREQ_LOW;
  GPIO_InitStruct.Alternate = GPIO_AF14_TIM15;
  HAL_GPIO_Init(GPIOB, &GPIO_InitStruct);

  /*Configure GPIO pins : PD14 PD15 */
  GPIO_InitStruct.Pin = GPIO_PIN_14|GPIO_PIN_15;
  GPIO_InitStruct.Mode = GPIO_MODE_AF_PP;
  GPIO_InitStruct.Pull = GPIO_NOPULL;
  GPIO_InitStruct.Speed = GPIO_SPEED_FREQ_LOW;
  GPIO_InitStruct.Alternate = GPIO_AF2_TIM4;
  HAL_GPIO_Init(GPIOD, &GPIO_InitStruct);

  /*Configure GPIO pin : PC6 */
  GPIO_InitStruct.Pin = GPIO_PIN_6;
  GPIO_InitStruct.Mode = GPIO_MODE_AF_PP;
  GPIO_InitStruct.Pull = GPIO_NOPULL;
  GPIO_InitStruct.Speed = GPIO_SPEED_FREQ_LOW;
  GPIO_InitStruct.Alternate = GPIO_AF13_SAI2;
  HAL_GPIO_Init(GPIOC, &GPIO_InitStruct);

  /*Configure GPIO pin : PC7 */
  GPIO_InitStruct.Pin = GPIO_PIN_7;
  GPIO_InitStruct.Mode = GPIO_MODE_AF_PP;
  GPIO_InitStruct.Pull = GPIO_NOPULL;
  GPIO_InitStruct.Speed = GPIO_SPEED_FREQ_LOW;
  GPIO_InitStruct.Alternate = GPIO_AF2_TIM3;
  HAL_GPIO_Init(GPIOC, &GPIO_InitStruct);

  /*Configure GPIO pin : PC8 */
  GPIO_InitStruct.Pin = GPIO_PIN_8;
  GPIO_InitStruct.Mode = GPIO_MODE_OUTPUT_PP;
  GPIO_InitStruct.Pull = GPIO_NOPULL;
  GPIO_InitStruct.Speed = GPIO_SPEED_FREQ_LOW;
  HAL_GPIO_Init(GPIOC, &GPIO_InitStruct);

  /*Configure GPIO pins : PC9 PC10 PC11 PC12 */
  GPIO_InitStruct.Pin = GPIO_PIN_9|GPIO_PIN_10|GPIO_PIN_11|GPIO_PIN_12;
  GPIO_InitStruct.Mode = GPIO_MODE_AF_PP;
  GPIO_InitStruct.Pull = GPIO_NOPULL;
  GPIO_InitStruct.Speed = GPIO_SPEED_FREQ_VERY_HIGH;
  GPIO_InitStruct.Alternate = GPIO_AF12_SDMMC1;
  HAL_GPIO_Init(GPIOC, &GPIO_InitStruct);

  /*Configure GPIO pins : PA8 PA10 */
  GPIO_InitStruct.Pin = GPIO_PIN_8|GPIO_PIN_10;
  GPIO_InitStruct.Mode = GPIO_MODE_AF_PP;
  GPIO_InitStruct.Pull = GPIO_NOPULL;
  GPIO_InitStruct.Speed = GPIO_SPEED_FREQ_VERY_HIGH;
  GPIO_InitStruct.Alternate = GPIO_AF10_OTG_FS;
  HAL_GPIO_Init(GPIOA, &GPIO_InitStruct);

  /*Configure GPIO pin : PA9 */
  GPIO_InitStruct.Pin = GPIO_PIN_9;
  GPIO_InitStruct.Mode = GPIO_MODE_INPUT;
  GPIO_InitStruct.Pull = GPIO_NOPULL;
  HAL_GPIO_Init(GPIOA, &GPIO_InitStruct);

  /*Configure GPIO pin : PD0 */
  GPIO_InitStruct.Pin = GPIO_PIN_0;
  GPIO_InitStruct.Mode = GPIO_MODE_AF_PP;
  GPIO_InitStruct.Pull = GPIO_NOPULL;
  GPIO_InitStruct.Speed = GPIO_SPEED_FREQ_VERY_HIGH;
  GPIO_InitStruct.Alternate = GPIO_AF9_CAN1;
  HAL_GPIO_Init(GPIOD, &GPIO_InitStruct);

  /*Configure GPIO pin : PD2 */
  GPIO_InitStruct.Pin = GPIO_PIN_2;
  GPIO_InitStruct.Mode = GPIO_MODE_AF_PP;
  GPIO_InitStruct.Pull = GPIO_NOPULL;
  GPIO_InitStruct.Speed = GPIO_SPEED_FREQ_VERY_HIGH;
  GPIO_InitStruct.Alternate = GPIO_AF12_SDMMC1;
  HAL_GPIO_Init(GPIOD, &GPIO_InitStruct);

  /*Configure GPIO pin : PB7 */
  GPIO_InitStruct.Pin = GPIO_PIN_7;
  GPIO_InitStruct.Mode = GPIO_MODE_OUTPUT_PP;
  GPIO_InitStruct.Pull = GPIO_NOPULL;
  GPIO_InitStruct.Speed = GPIO_SPEED_FREQ_LOW;
  HAL_GPIO_Init(GPIOB, &GPIO_InitStruct);

  /*Configure GPIO pin : PE0 */
  GPIO_InitStruct.Pin = GPIO_PIN_0;
  GPIO_InitStruct.Mode = GPIO_MODE_AF_PP;
  GPIO_InitStruct.Pull = GPIO_NOPULL;
  GPIO_InitStruct.Speed = GPIO_SPEED_FREQ_LOW;
  GPIO_InitStruct.Alternate = GPIO_AF2_TIM4;
  HAL_GPIO_Init(GPIOE, &GPIO_InitStruct);

}

/* USER CODE BEGIN 4 */
#ifdef __GNUC__
#define PUTCHAR_PROTOTYPE int __io_putchar(int ch)
#else
  #define PUTCHAR_PROTOTYPE int fputc(int ch, FILE *f)
#endif /* __GNUC__ */
PUTCHAR_PROTOTYPE
{
  HAL_UART_Transmit(&hlpuart1, (uint8_t *)&ch, 1, 0xFFFF);
  return ch;
}

void HAL_UART_RxCpltCallback(UART_HandleTypeDef *huart)
 {
   /* Prevent unused argument(s) compilation warning */
   UNUSED(huart);

   uint32_t curr_time = htim2.Instance->CNT;

//   int car_finished1 = 0; // bool: has car finished race?
//   int car_finished2 = 0; // bool: has car finished race?
//   int race_started = 0;

   lcd_clear();

   if(huart == &huart2) { // Received from car 1
	   printf("Received interrupt from car 1\n");
	   printf("Car 1 finished in %d milliseconds\n", curr_time);

	   int time = curr_time / 1000;

	   if(!car_finished2) {
		   lcd_string(0x27, 0, 0, "Car 1 Wins");
		   lcd_string(0x27, 1, 0, "time: ");
		   char num_buffer[10];
		   itoa(time, num_buffer, 10);
		   lcd_string(0x27, 1, 6, num_buffer);
		   lcd_string(0x27, 1, 13, "sec");
	   } else {
		   lcd_string(0x27, 0, 0, "Car 1 Finished");
	   }

	   car_time1 = curr_time;
	   car_finished1 = 1;
	   HAL_GPIO_WritePin(GPIOG, GPIO_PIN_0, 1);
	   HAL_Delay(10);
	   HAL_GPIO_WritePin(GPIOG, GPIO_PIN_0, 0);

   } else if(huart == &huart3) { // Received from car 2
	   printf("Received interrupt from car 2\n");
	   printf("Car 2 finished in %u milliseconds\n", curr_time);
	   printf("rx_data2[0]: %d, \n", rx_data2[0]);

	   int time = curr_time / 1000;

	   if(!car_finished1) {
	   		   lcd_string(0x27, 0, 0, "Car 2 Wins");
			   lcd_string(0x27, 1, 0, "time: ");
			   char num_buffer[10];
			   itoa(time, num_buffer, 10);
			   lcd_string(0x27, 1, 6, num_buffer);
			   lcd_string(0x27, 1, 13, "sec");
	   } else {
		   lcd_string(0x27, 0, 0, "Car 2 Finished");
	   }

	   car_time2 = curr_time;
	   car_finished2 = 1;
	   HAL_GPIO_WritePin(GPIOG, GPIO_PIN_1, 1);
	   HAL_Delay(10);
	   HAL_GPIO_WritePin(GPIOG, GPIO_PIN_1, 0);
   }

   if(car_finished1 && car_finished2) {
	   race_started = 0;
   }
 }

/* USER CODE END 4 */

void Error_Handler(void)
{
  __disable_irq();
  while (1)
  {
  }
}
